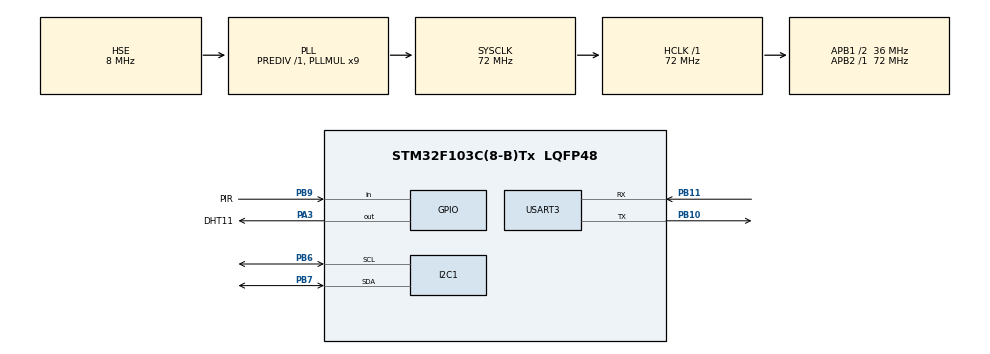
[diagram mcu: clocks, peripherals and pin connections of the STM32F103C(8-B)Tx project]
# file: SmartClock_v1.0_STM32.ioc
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Mcu.Family=STM32F1
Mcu.Name=STM32F103C(8-B)Tx
Mcu.Package=LQFP48
NVIC.PriorityGroup=NVIC_PRIORITYGROUP_4
NVIC.USART3_IRQn=true\:1\:0\:true\:false\:true\:true\:true\:true
PA13.Mode=Serial_Wire
PA13.Signal=SYS_JTMS-SWDIO
PA14.Mode=Serial_Wire
PA14.Signal=SYS_JTCK-SWCLK
PA3.GPIO_Label=DHT11
PA3.GPIO_PuPd=GPIO_PULLUP
PA3.Signal=GPIO_Output
PB10.Mode=Asynchronous
PB10.Signal=USART3_TX
PB11.Mode=Asynchronous
PB11.Signal=USART3_RX
PB6.Mode=I2C
PB6.Signal=I2C1_SCL
PB7.Mode=I2C
PB7.Signal=I2C1_SDA
PB9.GPIO_Label=PIR
PB9.Signal=GPIO_Input
PD0-OSC_IN.Mode=HSE-External-Oscillator
PD0-OSC_IN.Signal=RCC_OSC_IN
PD1-OSC_OUT.Mode=HSE-External-Oscillator
PD1-OSC_OUT.Signal=RCC_OSC_OUT
ProjectManager.HeapSize=0x200
ProjectManager.StackSize=0x400
ProjectManager.TargetToolchain=STM32CubeIDE
RCC.AHBFreq_Value=72000000
RCC.APB1CLKDivider=RCC_HCLK_DIV2
RCC.APB1Freq_Value=36000000
RCC.APB1TimFreq_Value=72000000
RCC.APB2Freq_Value=72000000
RCC.APB2TimFreq_Value=72000000
RCC.HCLKFreq_Value=72000000
RCC.PLLMUL=RCC_PLL_MUL9
RCC.PLLSourceVirtual=RCC_PLLSOURCE_HSE
RCC.SYSCLKFreq_VALUE=72000000
RCC.SYSCLKSource=RCC_SYSCLKSOURCE_PLLCLK
RCC.USBFreq_Value=72000000
TIM3.Prescaler=71
USART3.VirtualMode=VM_ASYNC
VP_TIM3_VS_ClockSourceINT.Mode=Internal
board=custom

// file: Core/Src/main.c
/* USER CODE BEGIN Header */
/**
 ******************************************************************************
 * @file           : main.c
 * @brief          : Main program body
 ******************************************************************************
 * @attention
 *
 * Copyright (c) 2026 STMicroelectronics.
 * All rights reserved.
 *
 * This software is licensed under terms that can be found in the LICENSE file
 * in the root directory of this software component.
 * If no LICENSE file comes with this software, it is provided AS-IS.
 *
 ******************************************************************************
 */
/* USER CODE END Header */
#include "main.h"

/* USER CODE BEGIN Includes */
#include "ds3231_i2c.h"
#include "pir_am312.h"
#include "Delay_us.h"
#include "DHT.h"
#include "min.h"
#include "min_port.h"
#include "uart.h"
/* USER CODE END Includes */

/* USER CODE BEGIN PTD */
#define DS3231_ID 0x00
#define PIR_ID    0x01
#define DHT11_ID  0x02
/* USER CODE END PTD */

I2C_HandleTypeDef hi2c1;

TIM_HandleTypeDef htim3;

UART_HandleTypeDef huart3;

/* USER CODE BEGIN PV */
DS3231_I2C_HandleTypeDef p_DS3231;
DHT_HandleTypeDef        hdht;

typedef struct
{
    uint8_t second;
    uint8_t minute;
    uint8_t hour;
    uint8_t day;
    uint8_t date;
    uint8_t month;
    uint8_t year;
} Time;

Time    time_ds3231;
uint8_t pir;
uint8_t dht[5];
uint8_t hum;
uint8_t temp;

struct min_context min_ctx;
/* USER CODE END PV */

void        SystemClock_Config(void);
static void MX_GPIO_Init(void);
static void MX_USART3_UART_Init(void);
static void MX_TIM3_Init(void);
static void MX_I2C1_Init(void);

/* USER CODE BEGIN 0 */
static uint8_t data_rx;
void           HAL_UART_RxCpltCallback(UART_HandleTypeDef *huart)
{
    if (huart->Instance == huart3.Instance)
    {
        receive_rx(data_rx);
        HAL_UART_Receive_IT(&huart3, &data_rx, 1);
    }
}

void min_tx_byte(uint8_t port, uint8_t byte)
{
    // USART1->DR = byte;
    // while(!(USART1->SR & USART_SR_TC));
    HAL_UART_Transmit(&huart3, &byte, 1, 10);
}

void min_application_handler(uint8_t min_id, uint8_t const *min_payload, uint8_t len_payload, uint8_t port)
{
    if (min_id == 0x01)
    {
    }
}
/* USER CODE END 0 */

int main(void)
{

    /* MCU Configuration--------------------------------------------------------*/

    /* Reset of all peripherals, Initializes the Flash interface and the Systick. */
    HAL_Init();

    /* Configure the system clock */
    SystemClock_Config();

    /* Initialize all configured peripherals */
    MX_GPIO_Init();
    MX_USART3_UART_Init();
    MX_TIM3_Init();
    MX_I2C1_Init();
    /* USER CODE BEGIN 2 */
    time_ds3231.hour   = 10;
    time_ds3231.minute = 30;
    time_ds3231.second = 30;
    time_ds3231.day    = 2; // thu
    time_ds3231.date   = 12;
    time_ds3231.month  = 01;
    time_ds3231.year   = 26;

    ds3231_i2c_init(&p_DS3231, &hi2c1, 0x68);
    ds3231_set_time(&p_DS3231,
                    time_ds3231.hour,
                    time_ds3231.minute,
                    time_ds3231.second,
                    time_ds3231.day,
                    time_ds3231.date,
                    time_ds3231.month,
                    time_ds3231.year);

    PIR_AM312_Init(PIR_GPIO_Port, PIR_Pin);

    DELAY_US_Init(&htim3);
    DHT_Init(&hdht, DHT11, DHT11_GPIO_Port, DHT11_Pin);

    uart_init();
    HAL_UART_Receive_IT(&huart3, &data_rx, 1);
    min_init_context(&min_ctx, 0);
    /* USER CODE END 2 */

    /* Infinite loop */
    while (1)
    {

        /* USER CODE BEGIN 3 */

        // Read data from sensors
        ds3231_read_time(&p_DS3231,
                         &time_ds3231.hour,
                         &time_ds3231.minute,
                         &time_ds3231.second,
                         &time_ds3231.day,
                         &time_ds3231.date,
                         &time_ds3231.month,
                         &time_ds3231.year);

        pir = pir_am312_get_data(); // pir = 1 is motion detected

        DHT_Read_Value(&hdht);
        hum  = hdht.huminity;
        temp = hdht.temperature;

        // Send data to ESP32 via UART
        while (uart_available() > 0)
        {
            uint8_t rx_byte = uart_read();
            min_poll(&min_ctx, &rx_byte, 1);
        }

        static uint32_t last_time = 0;
        if (HAL_GetTick() - last_time > 1000) // Send data every second
        {
            last_time = HAL_GetTick();

            // Send data of DS3231 to ESP32
            uint8_t ds3231[7];
            ds3231[0] = time_ds3231.hour;
            ds3231[1] = time_ds3231.minute;
            ds3231[2] = time_ds3231.second;
            ds3231[3] = time_ds3231.day;
            ds3231[4] = time_ds3231.date;
            ds3231[5] = time_ds3231.month;
            ds3231[6] = time_ds3231.year;
            min_send_frame(&min_ctx, DS3231_ID, ds3231, sizeof(ds3231));

            // Send data of PIR to ESP32
            uint8_t pir_buff[1] = {pir};
            min_send_frame(&min_ctx, PIR_ID, pir_buff, 1);

            // Send data of DHT11 to ESP32
            uint8_t dht11[2];
            dht11[0] = hdht.huminity;
            dht11[1] = hdht.temperature;
            min_send_frame(&min_ctx, DHT11_ID, dht11, sizeof(dht11));
        }
    }
    /* USER CODE END 3 */
}

void SystemClock_Config(void)
{
    RCC_OscInitTypeDef RCC_OscInitStruct = {0};
    RCC_ClkInitTypeDef RCC_ClkInitStruct = {0};

    /** Initializes the RCC Oscillators according to the specified parameters
     * in the RCC_OscInitTypeDef structure.
     */
    RCC_OscInitStruct.OscillatorType = RCC_OSCILLATORTYPE_HSE;
    RCC_OscInitStruct.HSEState       = RCC_HSE_ON;
    RCC_OscInitStruct.HSEPredivValue = RCC_HSE_PREDIV_DIV1;
    RCC_OscInitStruct.HSIState       = RCC_HSI_ON;
    RCC_OscInitStruct.PLL.PLLState   = RCC_PLL_ON;
    RCC_OscInitStruct.PLL.PLLSource  = RCC_PLLSOURCE_HSE;
    RCC_OscInitStruct.PLL.PLLMUL     = RCC_PLL_MUL9;
    if (HAL_RCC_OscConfig(&RCC_OscInitStruct) != HAL_OK)
    {
        Error_Handler();
    }

    /** Initializes the CPU, AHB and APB buses clocks
     */
    RCC_ClkInitStruct.ClockType = RCC_CLOCKTYPE_HCLK | RCC_CLOCKTYPE_SYSCLK | RCC_CLOCKTYPE_PCLK1 | RCC_CLOCKTYPE_PCLK2;
    RCC_ClkInitStruct.SYSCLKSource   = RCC_SYSCLKSOURCE_PLLCLK;
    RCC_ClkInitStruct.AHBCLKDivider  = RCC_SYSCLK_DIV1;
    RCC_ClkInitStruct.APB1CLKDivider = RCC_HCLK_DIV2;
    RCC_ClkInitStruct.APB2CLKDivider = RCC_HCLK_DIV1;

    if (HAL_RCC_ClockConfig(&RCC_ClkInitStruct, FLASH_LATENCY_2) != HAL_OK)
    {
        Error_Handler();
    }
}

static void MX_I2C1_Init(void)
{

    hi2c1.Instance             = I2C1;
    hi2c1.Init.ClockSpeed      = 100000;
    hi2c1.Init.DutyCycle       = I2C_DUTYCYCLE_2;
    hi2c1.Init.OwnAddress1     = 0;
    hi2c1.Init.AddressingMode  = I2C_ADDRESSINGMODE_7BIT;
    hi2c1.Init.DualAddressMode = I2C_DUALADDRESS_DISABLE;
    hi2c1.Init.OwnAddress2     = 0;
    hi2c1.Init.GeneralCallMode = I2C_GENERALCALL_DISABLE;
    hi2c1.Init.NoStretchMode   = I2C_NOSTRETCH_DISABLE;
    if (HAL_I2C_Init(&hi2c1) != HAL_OK)
    {
        Error_Handler();
    }
}

static void MX_TIM3_Init(void)
{

    TIM_ClockConfigTypeDef  sClockSourceConfig = {0};
    TIM_MasterConfigTypeDef sMasterConfig      = {0};

    htim3.Instance               = TIM3;
    htim3.Init.Prescaler         = 71;
    htim3.Init.CounterMode       = TIM_COUNTERMODE_UP;
    htim3.Init.Period            = 65535;
    htim3.Init.ClockDivision     = TIM_CLOCKDIVISION_DIV1;
    htim3.Init.AutoReloadPreload = TIM_AUTORELOAD_PRELOAD_DISABLE;
    if (HAL_TIM_Base_Init(&htim3) != HAL_OK)
    {
        Error_Handler();
    }
    sClockSourceConfig.ClockSource = TIM_CLOCKSOURCE_INTERNAL;
    if (HAL_TIM_ConfigClockSource(&htim3, &sClockSourceConfig) != HAL_OK)
    {
        Error_Handler();
    }
    sMasterConfig.MasterOutputTrigger = TIM_TRGO_RESET;
    sMasterConfig.MasterSlaveMode     = TIM_MASTERSLAVEMODE_DISABLE;
    if (HAL_TIMEx_MasterConfigSynchronization(&htim3, &sMasterConfig) != HAL_OK)
    {
        Error_Handler();
    }
}

static void MX_USART3_UART_Init(void)
{

    huart3.Instance          = USART3;
    huart3.Init.BaudRate     = 115200;
    huart3.Init.WordLength   = UART_WORDLENGTH_8B;
    huart3.Init.StopBits     = UART_STOPBITS_1;
    huart3.Init.Parity       = UART_PARITY_NONE;
    huart3.Init.Mode         = UART_MODE_TX_RX;
    huart3.Init.HwFlowCtl    = UART_HWCONTROL_NONE;
    huart3.Init.OverSampling = UART_OVERSAMPLING_16;
    if (HAL_UART_Init(&huart3) != HAL_OK)
    {
        Error_Handler();
    }
}

static void MX_GPIO_Init(void)
{
    GPIO_InitTypeDef GPIO_InitStruct = {0};

    /* GPIO Ports Clock Enable */
    __HAL_RCC_GPIOD_CLK_ENABLE();
    __HAL_RCC_GPIOA_CLK_ENABLE();
    __HAL_RCC_GPIOB_CLK_ENABLE();

    /*Configure GPIO pin Output Level */
    HAL_GPIO_WritePin(DHT11_GPIO_Port, DHT11_Pin, GPIO_PIN_RESET);

    /*Configure GPIO pin : DHT11_Pin */
    GPIO_InitStruct.Pin   = DHT11_Pin;
    GPIO_InitStruct.Mode  = GPIO_MODE_OUTPUT_PP;
    GPIO_InitStruct.Pull  = GPIO_PULLUP;
    GPIO_InitStruct.Speed = GPIO_SPEED_FREQ_LOW;
    HAL_GPIO_Init(DHT11_GPIO_Port, &GPIO_InitStruct);

    /*Configure GPIO pin : PIR_Pin */
    GPIO_InitStruct.Pin  = PIR_Pin;
    GPIO_InitStruct.Mode = GPIO_MODE_INPUT;
    GPIO_InitStruct.Pull = GPIO_NOPULL;
    HAL_GPIO_Init(PIR_GPIO_Port, &GPIO_InitStruct);

}

void Error_Handler(void)
{
    __disable_irq();
    while (1)
    {
    }
}
